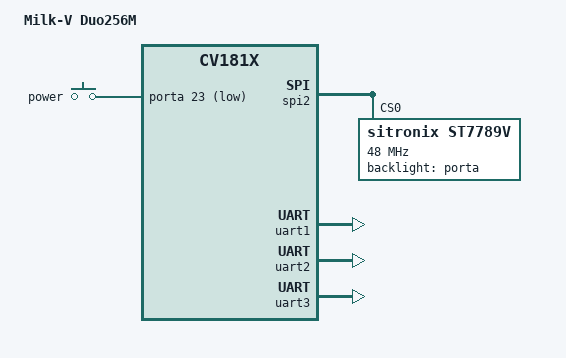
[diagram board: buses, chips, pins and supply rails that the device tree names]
/dts-v1/;
#include "cv181x_base_riscv.dtsi"
#include "cv181x_asic_qfn.dtsi"
#include "cv181x_asic_sd.dtsi"
#include "cv181x_default_memmap.dtsi"

/ {
	model = "Milk-V Duo256M";

	gpio_keys {
		compatible = "gpio-keys";

		power_button {
			label = "power";
			linux,code = <116>;
			
			gpios = <&porta 23 GPIO_ACTIVE_LOW>;
			
			debounce-interval = <10>;
			wakeup-source;
		};
	};
};

&mipi_rx {
	snsr-reset = <&portc 17 GPIO_ACTIVE_LOW>, <&portc 17 GPIO_ACTIVE_LOW>, <&portc 17 GPIO_ACTIVE_LOW>;
};

&i2c0 {
	status = "disabled";
};

&i2c4 {
	status = "disabled";
};

&spi2 {
    status = "okay";
    /delete-node/ spidev@0;

    st7789v@0 {
    	compatible = "sitronix,st7789v";
    	reg = <0>;
		status = "okay";
    	spi-max-frequency = <48000000>;
		spi-cpol;
		spi-cpha;
		rgb;
    	buswidth = <8>;
    	rotate = <0>;
    	fps = <60>;

    	dc = <&porta 25 GPIO_ACTIVE_HIGH>;
    	reset = <&porta 26 GPIO_ACTIVE_LOW>;
    	backlight = <&porta 27 GPIO_ACTIVE_HIGH>;

		debug = <0x0>;
	};
};

&dac {
	mute-gpio-r = <&porte 1 GPIO_ACTIVE_LOW>;
};

&uart1 {
	status = "okay";
};

&uart2 {
	status = "okay";
};

&uart3 {
	status = "okay";
};

&ethernet0 {
	status = "disabled";
};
